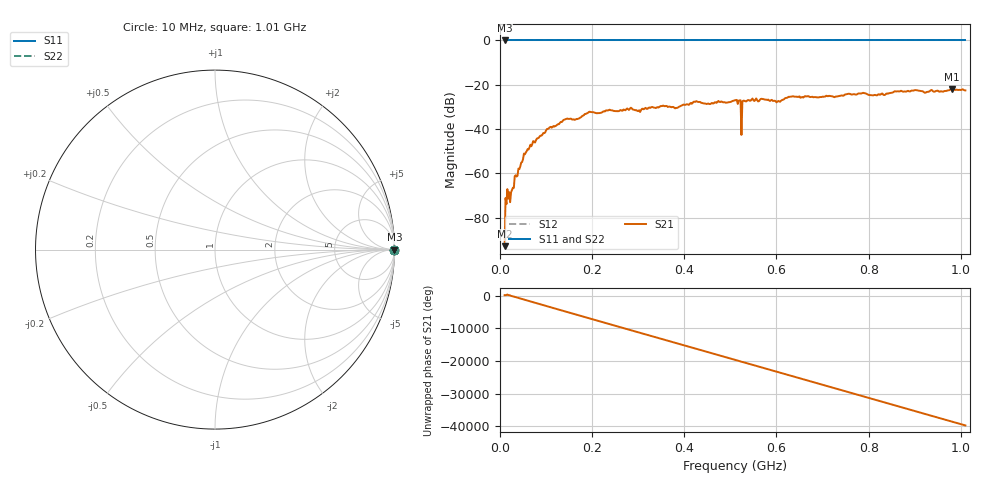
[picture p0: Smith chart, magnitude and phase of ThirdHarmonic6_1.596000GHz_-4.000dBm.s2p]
! 8/16/2025 7:01:03 PM
! C:\ANRITSUVNA\TEMP\TEMP.S2P
! CHANNEL.1
! TR.MEASUREMENT
! RAW.DATA
! RF.CORRECTION.OFF
! AVERAGING.OFF
! IF.BANDWIDTH: 5KHZ
! SWEEPTYPE:  FREQ.SWEEP(Linear)
! Reference Plane Port Info
! PORT:  PORT1  PORT2
! DISTANCE:  0  m  0  m
! TIME:  0  s  0  s
! PHASE.OFFSET:  0  deg.  0  deg.
! LOSS:  0  dB  0  dB
! REF.LOSS:  0  dB  0  dB
! REF.FREQ:  0  Hz  0  Hz
! Power Info
! POWER:  -20  dBm  -20  dBm
! EFF.POWER:  -20  dBm  -20  dBm
! SOURCE.ATTEN:  0  dB  0  dB
! TEST.ATTEN:  0  dB  0  dB
# GHZ S RI R 50.0
! FREQ.GHZ  S11RE  S11IM  S21RE  S21IM  S12RE  S12IM  S22RE  S22IM
!; PortSelection: Port_12
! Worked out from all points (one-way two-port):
!   501 points, 10 MHz to 1.01 GHz, reference 50 ohm
!   highest |S21| = -21.93 dB at 980 MHz (marker M1); lowest = -92.8 dB at 10 MHz (marker M2)
!   lowest |S11| = 0.0 dB at 10 MHz (marker M3)
!   |S11| at or under -10 dB: nowhere
!   |S22| runs from 0.0 to 0.0 dB; largest |S21 - S12| = 1.1
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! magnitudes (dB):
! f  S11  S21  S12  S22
! 10 MHz  0.0  -92.8  0.0  0.0
! 16 MHz  0.0  -67.1  0.0  0.0
! 26 MHz  0.0  -67.5  0.0  0.0
! 36 MHz  0.0  -61.4  0.0  0.0
! 50 MHz  0.0  -53.5  0.0  0.0
! 70 MHz  0.0  -46.8  0.0  0.0
! 106 MHz  0.0  -39.6  0.0  0.0
! 178 MHz  0.0  -34.2  0.0  0.0
! 196 MHz  0.0  -32.2  0.0  0.0
! 344 MHz  0.0  -30.3  0.0  0.0
! 510 MHz  0.0  -27.0  0.0  0.0
! 518 MHz  0.0  -27.1  0.0  0.0
! 520 MHz  0.0  -27.1  0.0  0.0
! 528 MHz  0.0  -27.2  0.0  0.0
! 530 MHz  0.0  -27.2  0.0  0.0
! 544 MHz  0.0  -27.1  0.0  0.0
! 604 MHz  0.0  -27.3  0.0  0.0
! 630 MHz  0.0  -25.4  0.0  0.0
! 678 MHz  0.0  -25.4  0.0  0.0
! 844 MHz  0.0  -23.8  0.0  0.0
! 980 MHz  0.0  -21.9  0.0  0.0
! 1.01 GHz  0.0  -22.6  0.0  0.0
